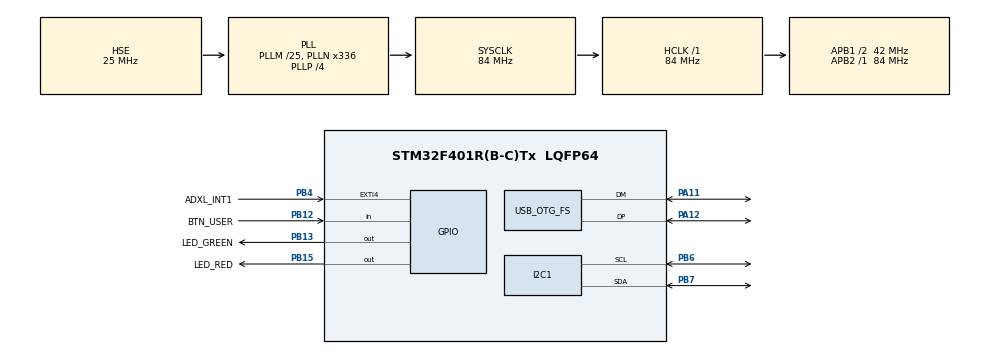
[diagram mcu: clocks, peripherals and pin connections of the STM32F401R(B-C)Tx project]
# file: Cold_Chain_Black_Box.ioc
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Mcu.Family=STM32F4
Mcu.Name=STM32F401R(B-C)Tx
Mcu.Package=LQFP64
NVIC.EXTI4_IRQn=true\:0\:0\:false\:false\:true\:true\:true\:true
NVIC.OTG_FS_IRQn=true\:0\:0\:false\:false\:true\:false\:true\:true
NVIC.PriorityGroup=NVIC_PRIORITYGROUP_4
PA11.Mode=Device_Only
PA11.Signal=USB_OTG_FS_DM
PA12.Mode=Device_Only
PA12.Signal=USB_OTG_FS_DP
PA13.Mode=Serial_Wire
PA13.Signal=SYS_JTMS-SWDIO
PA14.Mode=Serial_Wire
PA14.Signal=SYS_JTCK-SWCLK
PB12.GPIO_Label=BTN_USER
PB12.GPIO_PuPd=GPIO_PULLUP
PB12.Signal=GPIO_Input
PB13.GPIO_Label=LED_GREEN
PB13.Signal=GPIO_Output
PB15.GPIO_Label=LED_RED
PB15.Signal=GPIO_Output
PB4.GPIO_Label=ADXL_INT1
PB4.Signal=GPXTI4
PB6.Mode=I2C
PB6.Signal=I2C1_SCL
PB7.Mode=I2C
PB7.Signal=I2C1_SDA
PH0\ -\ OSC_IN.Mode=HSE-External-Oscillator
PH0\ -\ OSC_IN.Signal=RCC_OSC_IN
PH1\ -\ OSC_OUT.Mode=HSE-External-Oscillator
PH1\ -\ OSC_OUT.Signal=RCC_OSC_OUT
ProjectManager.HeapSize=0x1000
ProjectManager.StackSize=0x1000
ProjectManager.TargetToolchain=STM32CubeIDE
RCC.48MHZClocksFreq_Value=48000000
RCC.AHBFreq_Value=84000000
RCC.APB1CLKDivider=RCC_HCLK_DIV2
RCC.APB1Freq_Value=42000000
RCC.APB1TimFreq_Value=84000000
RCC.APB2Freq_Value=84000000
RCC.APB2TimFreq_Value=84000000
RCC.CortexFreq_Value=84000000
RCC.HCLKFreq_Value=84000000
RCC.HSE_VALUE=25000000
RCC.HSI_VALUE=16000000
RCC.LSE_VALUE=32768
RCC.PLLM=25
RCC.PLLN=336
RCC.PLLP=RCC_PLLP_DIV4
RCC.PLLQ=7
RCC.SYSCLKFreq_VALUE=84000000
RCC.SYSCLKSource=RCC_SYSCLKSOURCE_PLLCLK
RCC.VCOOutputFreq_Value=336000000
USB_DEVICE.CLASS_NAME_FS=CDC
USB_DEVICE.VirtualMode=Cdc
USB_DEVICE.VirtualModeFS=Cdc_FS
USB_OTG_FS.VirtualMode=Device_Only
VP_USB_DEVICE_VS_USB_DEVICE_CDC_FS.Mode=CDC_FS
board=custom

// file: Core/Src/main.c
/* USER CODE BEGIN Header */
/**
  ******************************************************************************
  * @file           : main.c
  * @brief          : Main program body
  ******************************************************************************
  * @attention
  *
  * Copyright (c) 2026 STMicroelectronics.
  * All rights reserved.
  *
  * This software is licensed under terms that can be found in the LICENSE file
  * in the root directory of this software component.
  * If no LICENSE file comes with this software, it is provided AS-IS.
  *
  ******************************************************************************
  */
/* USER CODE END Header */
#include "main.h"
#include "usb_device.h"

/* USER CODE BEGIN Includes */
#include "sht31.h"
#include "ds3231.h"
#include "adxl345.h"
#include "mkt.h"
#include "logger.h"
#include "flash_storage.h"
#include "usb_protocol.h"
/* USER CODE END Includes */

I2C_HandleTypeDef hi2c1;

/* USER CODE BEGIN PV */
// WHO Standardı: 5 dakika = 300000 ms (Demo/test için 5000 ms yapabilirsiniz)
#define LOG_INTERVAL_MS   300000UL

// --- SİSTEM DURUM MAKİNESİ (TEK YÖNLÜ) ---
typedef enum {
    STATE_IDLE = 0,   // Hazır / Bekleme
    STATE_LOGGING,    // Yolculuk / Aktif Kayıt
    STATE_FINISHED    // Teslimat / Kilitli
} SystemState_t;

SystemState_t cihaz_durumu = STATE_IDLE;

// --- SENSÖR VE MKT DEĞİŞKENLERİ ---
float sicaklik = 0.0f;
float nem = 0.0f;
uint8_t okuma_durumu = 0;

DS3231_DateTime ayar_zaman;
DS3231_DateTime suanki_zaman;
DS3231_DateTime baslatma_zamani;
DS3231_DateTime bitirme_zamani;

ADXL345_Data ivme;
volatile uint8_t darbe_tespit_edildi = 0;
uint32_t toplam_darbe_sayisi = 0;

MKT_Context soguk_zincir_mkt;
float nihai_mkt_degeri = 0.0f;

// --- GÜVENLİK VE DENETİM BAYRAKLARI ---
uint8_t bayrak_mkt_ihlali    = 0; // MKT 2-8°C dışında mı?
uint8_t bayrak_donma_riski   = 0; // Sıcaklık 0°C altına düştü mü?
uint8_t bayrak_mekanik_darbe = 0; // Kritik şok algılandı mı?

// --- ZAMANLAYICI VE BUTON YÖNETİMİ ---
uint32_t son_ornek_zamani     = 0; // 1 sn'lik MKT örneklemesi için
uint32_t son_log_zamani       = 0; // 5 dk'lık SHA-256 zincir kaydı için
uint32_t son_idle_blink       = 0;
uint32_t buton_basilma_ani    = 0;
uint8_t  buton_basili_tutuldu = 0;
uint8_t  komut_tetiklendi     = 0;
/* USER CODE END PV */

void SystemClock_Config(void);
static void MX_GPIO_Init(void);
static void MX_I2C1_Init(void);

/* USER CODE BEGIN 0 */

void Yolculugu_Baslat(void)
{
    // 1. Kullanıcıya 10 saniyelik kutu kapatma & mühürleme süresi ver
    // (Bu sürede kutu kapağı kapatılırken oluşan el sıcaklığı ve sarsıntı yoksayılır)
    HAL_Delay(10000);

    // 2. Tüm sayaçları, MKT motorunu ve SHA-256 log zincirini sıfırla
    MKT_Init(&soguk_zincir_mkt);
    Logger_Init();

    toplam_darbe_sayisi  = 0;
    darbe_tespit_edildi  = 0;
    bayrak_mkt_ihlali    = 0;
    bayrak_donma_riski   = 0;
    bayrak_mekanik_darbe = 0;

    // Kutu kapanırken sensörde birikmiş olabilecek eski darbe kesmesini temizle
    ADXL345_ClearInterrupt(&hi2c1);

    // 3. Yolculuk resmi başlangıç zamanını kaydet
    DS3231_GetTime(&hi2c1, &baslatma_zamani);

    // 4. İlk ölçümü (0. dakika / Genesis kaydını) al ve mühürle
    if (SHT31_Read(&hi2c1, &sicaklik, &nem) == 1) {
        MKT_AddSample(&soguk_zincir_mkt, sicaklik);
        Logger_AddRecord(&baslatma_zamani, sicaklik, nem, toplam_darbe_sayisi);
    }

    // 5. Görsel onay: 1 saniye sabit Yeşil LED, ardından sıfır güç tüketimi için karanlık
    HAL_GPIO_WritePin(LED_RED_GPIO_Port, LED_RED_Pin, GPIO_PIN_RESET);
    HAL_GPIO_WritePin(LED_GREEN_GPIO_Port, LED_GREEN_Pin, GPIO_PIN_SET);
    HAL_Delay(1000);
    HAL_GPIO_WritePin(LED_GREEN_GPIO_Port, LED_GREEN_Pin, GPIO_PIN_RESET);

    // 6. Periyodik zamanlayıcıları eşitle ve aktif kayıt durumuna geç
    son_ornek_zamani = HAL_GetTick();
    son_log_zamani   = son_ornek_zamani;
    cihaz_durumu     = STATE_LOGGING;
}

void Yolculugu_Bitir_Ve_Degerlendir(void)
{
    cihaz_durumu = STATE_FINISHED;

    // 1. Bitiş zamanını RTC'den oku ve son kapanış kaydını SHA-256 zincirine ekle
    DS3231_GetTime(&hi2c1, &bitirme_zamani);
    if (SHT31_Read(&hi2c1, &sicaklik, &nem) == 1) {
        MKT_AddSample(&soguk_zincir_mkt, sicaklik);
        Logger_AddRecord(&bitirme_zamani, sicaklik, nem, toplam_darbe_sayisi);
    }

    // 2. MKT hesaplamasını tek seferde yap
    nihai_mkt_degeri = MKT_Calculate(&soguk_zincir_mkt);

    // 3. İhlal kriterlerini kontrol et
    if (soguk_zincir_mkt.min_temp <= 0.0f) {
        bayrak_donma_riski = 1;
    }
    if (soguk_zincir_mkt.sample_count == 0 || nihai_mkt_degeri < 2.0f || nihai_mkt_degeri > 8.0f) {
        bayrak_mkt_ihlali = 1;
    }
    if (toplam_darbe_sayisi > 0) {
        bayrak_mekanik_darbe = 1;
    }

    // 4. TÜM VERİYİ VE KİLİT DURUMUNU KALICI FLASH'A MÜHÜRLE
    Flash_SaveBlackbox(STATE_FINISHED, nihai_mkt_degeri, soguk_zincir_mkt.min_temp, soguk_zincir_mkt.max_temp, bayrak_mkt_ihlali,
                       bayrak_donma_riski, bayrak_mekanik_darbe, toplam_darbe_sayisi,
                       &baslatma_zamani, &bitirme_zamani);

    // 5. Nihai LED kararını yak
    if (bayrak_donma_riski || bayrak_mkt_ihlali || bayrak_mekanik_darbe) {
        HAL_GPIO_WritePin(LED_GREEN_GPIO_Port, LED_GREEN_Pin, GPIO_PIN_RESET);
        HAL_GPIO_WritePin(LED_RED_GPIO_Port, LED_RED_Pin, GPIO_PIN_SET);
    } else {
        HAL_GPIO_WritePin(LED_RED_GPIO_Port, LED_RED_Pin, GPIO_PIN_RESET);
        HAL_GPIO_WritePin(LED_GREEN_GPIO_Port, LED_GREEN_Pin, GPIO_PIN_SET);
    }
}

void Buton_Kontrol_Et(void)
{
    // Aktif LOW (Pull-up olduğu için basılınca GPIO_PIN_RESET okunur)
    uint8_t buton_basili = (HAL_GPIO_ReadPin(BTN_USER_GPIO_Port, BTN_USER_Pin) == GPIO_PIN_RESET);

    if (buton_basili)
    {
        if (!buton_basili_tutuldu) {
            buton_basili_tutuldu = 1;
            buton_basilma_ani = HAL_GetTick();
            komut_tetiklendi = 0;
        }

        uint32_t basili_kalma_suresi = HAL_GetTick() - buton_basilma_ani;

        // 3 saniye (3000 ms) ile 10 saniye (10000 ms) arası bilinçli basış
        // 10 saniyeden uzun basışlar bantlama/sıkışma sabotajı sayılır ve yoksayılır
        if (basili_kalma_suresi >= 3000 && basili_kalma_suresi <= 10000 && !komut_tetiklendi)
        {
            komut_tetiklendi = 1; // Elinizi çekene kadar tekrar tetiklenmesini önle

            if (cihaz_durumu == STATE_IDLE) {
                Yolculugu_Baslat();
            }
            else if (cihaz_durumu == STATE_LOGGING) {
                Yolculugu_Bitir_Ve_Degerlendir();
            }
            // STATE_FINISHED durumunda hiçbir şey yapmaz (Tek yönlü kilit)
        }
    }
    else
    {
        // Buton bırakıldı: Eğer LOGGING modundaysa ve kısa basış (< 1 sn) yapıldıysa
        // Kuryeye "Cihaz aktif, pil dolu" pingi (100 ms yeşil göz kırpma) ver
        if (buton_basili_tutuldu && !komut_tetiklendi && cihaz_durumu == STATE_LOGGING)
        {
            uint32_t sure = HAL_GetTick() - buton_basilma_ani;
            if (sure >= 50 && sure < 1000) {
                HAL_GPIO_WritePin(LED_GREEN_GPIO_Port, LED_GREEN_Pin, GPIO_PIN_SET);
                HAL_Delay(100);
                HAL_GPIO_WritePin(LED_GREEN_GPIO_Port, LED_GREEN_Pin, GPIO_PIN_RESET);
            }
        }

        buton_basili_tutuldu = 0;
        komut_tetiklendi = 0;
    }
}

void HAL_GPIO_EXTI_Callback(uint16_t GPIO_Pin)
{
    if (GPIO_Pin == ADXL_INT1_Pin && cihaz_durumu == STATE_LOGGING)
    {
        darbe_tespit_edildi = 1;
    }
}

void Cihazi_Uygulamadan_Sifirla(void)
{
    // 1. Flash'taki kilit sektörünü tamamen sil
    Flash_FactoryResetForNewTrip();

    // 2. RAM'deki motorları ve sayaçları sıfırla
    MKT_Init(&soguk_zincir_mkt);
    Logger_Init();
    toplam_darbe_sayisi  = 0;
    darbe_tespit_edildi  = 0;
    bayrak_mkt_ihlali    = 0;
    bayrak_donma_riski   = 0;
    bayrak_mekanik_darbe = 0;
    nihai_mkt_degeri     = 0.0f;

    // 3. LED'leri söndür ve cihazı tekrar IDLE (Hazır) moduna al
    HAL_GPIO_WritePin(LED_RED_GPIO_Port, LED_RED_Pin, GPIO_PIN_RESET);
    HAL_GPIO_WritePin(LED_GREEN_GPIO_Port, LED_GREEN_Pin, GPIO_PIN_RESET);

    cihaz_durumu = STATE_IDLE;
}
/* USER CODE END 0 */

int main(void)
{

  /* MCU Configuration--------------------------------------------------------*/

  /* Reset of all peripherals, Initializes the Flash interface and the Systick. */
  HAL_Init();

  /* Configure the system clock */
  SystemClock_Config();

  /* Initialize all configured peripherals */
  MX_GPIO_Init();
  MX_I2C1_Init();
  MX_USB_DEVICE_Init();
  /* USER CODE BEGIN 2 */
  char compile_time[] = __TIME__; // "HH:MM:SS"

  ayar_zaman.hours   = (compile_time[0] - '0') * 10 + (compile_time[1] - '0');
  ayar_zaman.minutes = (compile_time[3] - '0') * 10 + (compile_time[4] - '0');
  ayar_zaman.seconds = (compile_time[6] - '0') * 10 + (compile_time[7] - '0') + 5; // +5 sn yükleme payı

  ayar_zaman.day         = 15;
  ayar_zaman.month       = 11;
  ayar_zaman.year        = 2026;
  ayar_zaman.day_of_week = 7; // Pazar

  // Saati DS3231 çipine yaz (SADECE BİR KEZ YÜKLE, SONRA BU SATIRI YORUMA AL!)
  //DS3231_SetTime(&hi2c1, &ayar_zaman);

  // Başlangıçta tüm LED'leri kapat
  HAL_GPIO_WritePin(LED_GREEN_GPIO_Port, LED_GREEN_Pin, GPIO_PIN_RESET);
  HAL_GPIO_WritePin(LED_RED_GPIO_Port, LED_RED_Pin, GPIO_PIN_RESET);

  // İvmeölçeri başlat
  if (ADXL345_Init(&hi2c1) != 1) {
      // Donanım hatası varsa kırmızı LED ile uyar
      HAL_GPIO_WritePin(LED_RED_GPIO_Port, LED_RED_Pin, GPIO_PIN_SET);
  }

  MKT_Init(&soguk_zincir_mkt);
  Logger_Init();

  // --- KALICI KİLİT KONTROLÜ ---
  BlackboxFlashData_t kayitli_veri;
  if (Flash_LoadBlackbox(&kayitli_veri) == 1 && kayitli_veri.locked_state == STATE_FINISHED)
  {
      // Cihaz daha önce bitirilmiş! Masaüstü uygulamasından sıfırlanana kadar KİLİTLİ kal!
      cihaz_durumu         = STATE_FINISHED;
      nihai_mkt_degeri     = kayitli_veri.nihai_mkt;
      soguk_zincir_mkt.min_temp = kayitli_veri.min_temp;
      soguk_zincir_mkt.max_temp = kayitli_veri.max_temp;
      bayrak_mkt_ihlali    = kayitli_veri.bayrak_mkt;
      bayrak_donma_riski   = kayitli_veri.bayrak_donma;
      bayrak_mekanik_darbe = kayitli_veri.bayrak_darbe;
      toplam_darbe_sayisi  = kayitli_veri.toplam_darbe;
      baslatma_zamani      = kayitli_veri.baslatma_zamani;
      bitirme_zamani       = kayitli_veri.bitirme_zamani;

      // Nihai LED durumunu geri yükle
      if (bayrak_donma_riski || bayrak_mkt_ihlali || bayrak_mekanik_darbe) {
          HAL_GPIO_WritePin(LED_RED_GPIO_Port, LED_RED_Pin, GPIO_PIN_SET);
      } else {
          HAL_GPIO_WritePin(LED_GREEN_GPIO_Port, LED_GREEN_Pin, GPIO_PIN_SET);
      }
  }
  else
  {
      // Flash temiz: Masaüstü uygulaması tarafından sıfırlanmış, yeni göreve hazır
      cihaz_durumu = STATE_IDLE;
  }
  /* USER CODE END 2 */

  /* Infinite loop */
  /* USER CODE BEGIN WHILE */
  while (1)
    {
        uint32_t simdi = HAL_GetTick();

        // 1. BUTON KONTROLÜ (Her döngüde anlık taranır)
        Buton_Kontrol_Et();
        USB_Proto_Process(); // Masaüstü uygulamasından gelen komutları işle

        // 2. DURUMA GÖRE SİSTEM DAVRANIŞI
        switch (cihaz_durumu)
        {
            case STATE_IDLE:
                // Hazır bekleme modu: Saniyede bir 100 ms yeşil göz kırpma
                if (simdi - son_idle_blink >= 1000) {
                    son_idle_blink = simdi;
                    HAL_GPIO_WritePin(LED_GREEN_GPIO_Port, LED_GREEN_Pin, GPIO_PIN_SET);
                    HAL_Delay(100);
                    HAL_GPIO_WritePin(LED_GREEN_GPIO_Port, LED_GREEN_Pin, GPIO_PIN_RESET);
                }
                break;

            case STATE_LOGGING:
            {
                static uint8_t acil_olay_kaydi = 0;

                // A) Darbe / Şok Kesmesi Kontrolü
                if (darbe_tespit_edildi) {
                    darbe_tespit_edildi = 0;
                    toplam_darbe_sayisi++;
                    ADXL345_ClearInterrupt(&hi2c1);
                    acil_olay_kaydi = 1; // 5 dakikayı beklemeden darbe anını mühürle!
                }

                // B) 1 Saniyelik MKT Örneklemesi (O(1) Bellek)
                if (simdi - son_ornek_zamani >= 1000) {
                    son_ornek_zamani = simdi;

                    okuma_durumu = SHT31_Read(&hi2c1, &sicaklik, &nem);
                    DS3231_GetTime(&hi2c1, &suanki_zaman);

                    if (okuma_durumu == 1) {
                        MKT_AddSample(&soguk_zincir_mkt, sicaklik);

                        // C) 5 Dakikalık Periyodik SHA-256 Kaydı veya Acil Olay Kaydı
                        if (acil_olay_kaydi || (simdi - son_log_zamani >= LOG_INTERVAL_MS)) {
                            acil_olay_kaydi = 0;
                            son_log_zamani = simdi;
                            Logger_AddRecord(&suanki_zaman, sicaklik, nem, toplam_darbe_sayisi);
                        }
                    }
                }
                break;
            }

            case STATE_FINISHED:
                // Kayıt kilitlendi. USB CDC üzerinden gelecek masaüstü komutları dinlenecek.
                break;
        }

        HAL_Delay(20); // Buton debounce ve CPU rahatlatma
    /* USER CODE END WHILE */

  }
}

void SystemClock_Config(void)
{
  RCC_OscInitTypeDef RCC_OscInitStruct = {0};
  RCC_ClkInitTypeDef RCC_ClkInitStruct = {0};

  /** Configure the main internal regulator output voltage
  */
  __HAL_RCC_PWR_CLK_ENABLE();
  __HAL_PWR_VOLTAGESCALING_CONFIG(PWR_REGULATOR_VOLTAGE_SCALE2);

  /** Initializes the RCC Oscillators according to the specified parameters
  * in the RCC_OscInitTypeDef structure.
  */
  RCC_OscInitStruct.OscillatorType = RCC_OSCILLATORTYPE_HSE;
  RCC_OscInitStruct.HSEState = RCC_HSE_ON;
  RCC_OscInitStruct.PLL.PLLState = RCC_PLL_ON;
  RCC_OscInitStruct.PLL.PLLSource = RCC_PLLSOURCE_HSE;
  RCC_OscInitStruct.PLL.PLLM = 25;
  RCC_OscInitStruct.PLL.PLLN = 336;
  RCC_OscInitStruct.PLL.PLLP = RCC_PLLP_DIV4;
  RCC_OscInitStruct.PLL.PLLQ = 7;
  if (HAL_RCC_OscConfig(&RCC_OscInitStruct) != HAL_OK)
  {
    Error_Handler();
  }

  /** Initializes the CPU, AHB and APB buses clocks
  */
  RCC_ClkInitStruct.ClockType = RCC_CLOCKTYPE_HCLK|RCC_CLOCKTYPE_SYSCLK
                              |RCC_CLOCKTYPE_PCLK1|RCC_CLOCKTYPE_PCLK2;
  RCC_ClkInitStruct.SYSCLKSource = RCC_SYSCLKSOURCE_PLLCLK;
  RCC_ClkInitStruct.AHBCLKDivider = RCC_SYSCLK_DIV1;
  RCC_ClkInitStruct.APB1CLKDivider = RCC_HCLK_DIV2;
  RCC_ClkInitStruct.APB2CLKDivider = RCC_HCLK_DIV1;

  if (HAL_RCC_ClockConfig(&RCC_ClkInitStruct, FLASH_LATENCY_2) != HAL_OK)
  {
    Error_Handler();
  }
}

static void MX_I2C1_Init(void)
{

  hi2c1.Instance = I2C1;
  hi2c1.Init.ClockSpeed = 100000;
  hi2c1.Init.DutyCycle = I2C_DUTYCYCLE_2;
  hi2c1.Init.OwnAddress1 = 0;
  hi2c1.Init.AddressingMode = I2C_ADDRESSINGMODE_7BIT;
  hi2c1.Init.DualAddressMode = I2C_DUALADDRESS_DISABLE;
  hi2c1.Init.OwnAddress2 = 0;
  hi2c1.Init.GeneralCallMode = I2C_GENERALCALL_DISABLE;
  hi2c1.Init.NoStretchMode = I2C_NOSTRETCH_DISABLE;
  if (HAL_I2C_Init(&hi2c1) != HAL_OK)
  {
    Error_Handler();
  }

}

static void MX_GPIO_Init(void)
{
  GPIO_InitTypeDef GPIO_InitStruct = {0};

  /* GPIO Ports Clock Enable */
  __HAL_RCC_GPIOH_CLK_ENABLE();
  __HAL_RCC_GPIOB_CLK_ENABLE();
  __HAL_RCC_GPIOA_CLK_ENABLE();

  /*Configure GPIO pin Output Level */
  HAL_GPIO_WritePin(GPIOB, LED_GREEN_Pin|LED_RED_Pin, GPIO_PIN_RESET);

  /*Configure GPIO pin : BTN_USER_Pin */
  GPIO_InitStruct.Pin = BTN_USER_Pin;
  GPIO_InitStruct.Mode = GPIO_MODE_INPUT;
  GPIO_InitStruct.Pull = GPIO_PULLUP;
  HAL_GPIO_Init(BTN_USER_GPIO_Port, &GPIO_InitStruct);

  /*Configure GPIO pins : LED_GREEN_Pin LED_RED_Pin */
  GPIO_InitStruct.Pin = LED_GREEN_Pin|LED_RED_Pin;
  GPIO_InitStruct.Mode = GPIO_MODE_OUTPUT_PP;
  GPIO_InitStruct.Pull = GPIO_NOPULL;
  GPIO_InitStruct.Speed = GPIO_SPEED_FREQ_LOW;
  HAL_GPIO_Init(GPIOB, &GPIO_InitStruct);

  /*Configure GPIO pin : ADXL_INT1_Pin */
  GPIO_InitStruct.Pin = ADXL_INT1_Pin;
  GPIO_InitStruct.Mode = GPIO_MODE_IT_RISING;
  GPIO_InitStruct.Pull = GPIO_NOPULL;
  HAL_GPIO_Init(ADXL_INT1_GPIO_Port, &GPIO_InitStruct);

  /* EXTI interrupt init*/
  HAL_NVIC_SetPriority(EXTI4_IRQn, 0, 0);
  HAL_NVIC_EnableIRQ(EXTI4_IRQn);

}

void Error_Handler(void)
{
  __disable_irq();
  while (1)
  {
  }
}
